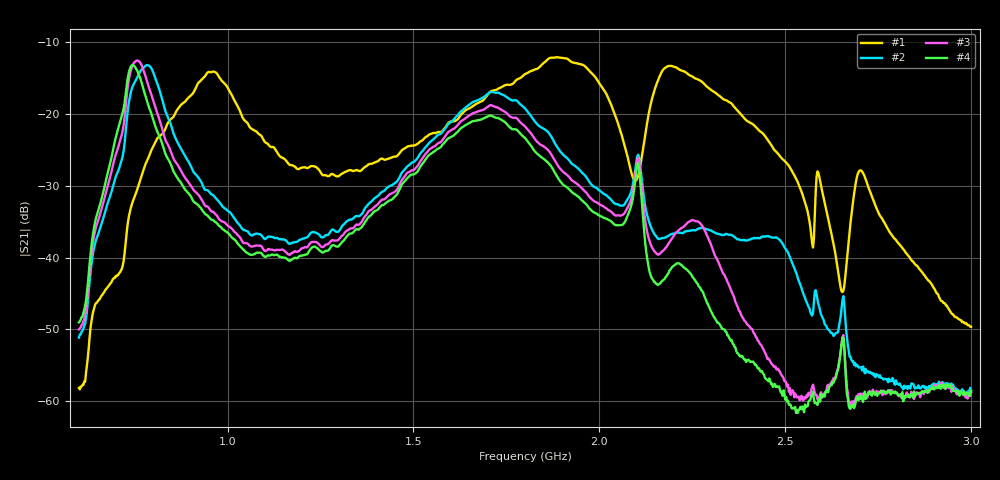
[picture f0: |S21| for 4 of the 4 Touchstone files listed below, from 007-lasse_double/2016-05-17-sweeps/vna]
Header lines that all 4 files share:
#  HZ  S  RI  R  50.00
! Rohde & Schwarz ZVB8 2Ports - Version 2.81 - 1145.1010k08 SN: 100113
! Measurements: S11 S21 S12 S22
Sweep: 600 MHz to 3 GHz
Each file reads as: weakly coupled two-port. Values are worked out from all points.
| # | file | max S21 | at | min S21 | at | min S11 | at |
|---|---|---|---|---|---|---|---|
| 1 | wonderant_0_0_0_0.s2p | -12.10 dB | 1.885 GHz | -58.3 dB | 602.4 MHz | -34.9 dB | 1.967 GHz |
| 2 | wonderant_f_f_a_0.s2p | -13.20 dB | 782.6 MHz | -59.0 dB | 2.986 GHz | -12.0 dB | 744.1 MHz |
| 3 | wonderant_f_f_f_3.s2p | -12.54 dB | 756.2 MHz | -60.6 dB | 2.676 GHz | -11.5 dB | 748.9 MHz |
| 4 | wonderant_f_f_f_7.s2p | -13.19 dB | 744.1 MHz | -61.6 dB | 2.529 GHz | -12.3 dB | 751.4 MHz |
